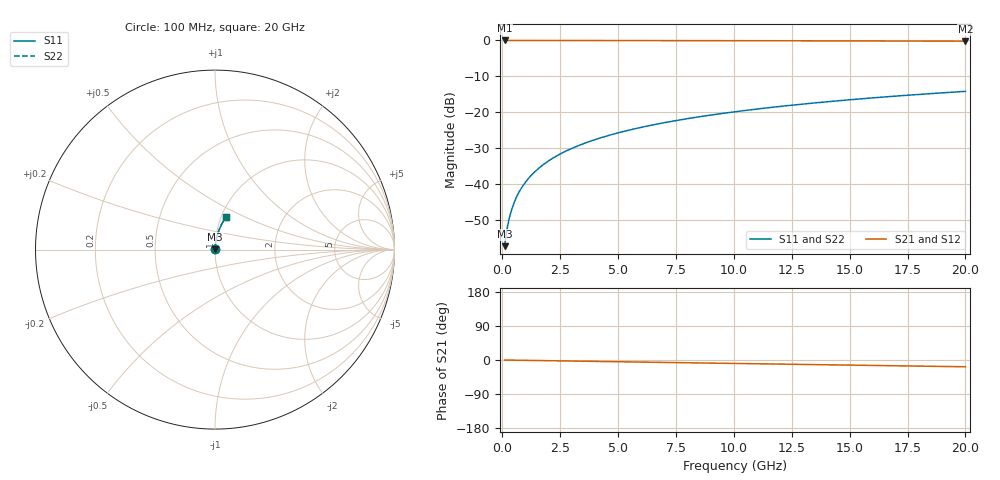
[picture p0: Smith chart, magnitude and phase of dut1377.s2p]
! Touchstone file exported from HFSS 2026.1.0
!  File:  C:/ffzhzh/LocalFiles/Ansys_Project_Files/temp_train_TMRDL_1377_1783165995_55132.aedt
!  Generated:  07:54:29 PM Jul  4, 2026
!  Design:  TMRDL
!  Project:  temp_train_TMRDL_1377_1783165995_55132
! Variables:
!  h_bsmrdl = 2um
!  h_ox = 20um
!  h_rdl = 5um
!  h_sub = 80um
!  h_tmrdl = 5.08um
!  h_tsv = 80um
!  h_via = 3um
!  l_bsmrdl = 300um
!  l_sub = 606.64um
!  l_tmrdl = 206.64um
!  m_sub = 200um
!  pitch = 58.8um
!  r_tsv = 6um
!  s_tmrdl = 10um
!  w_bsmrdl = 18um
!  w_sub = 500um
!  w_tmrdl = 23.05um
!  x_tsv_center1 = 218.165um
!  x_tsv_center2 = 536.165um
!  x_tsv_center3 = 765.855um
!  x_tsv_center4 = 1083.855um
!  x_tsv_center5 = 1313.545um
!  x_tsv_center6 = 1631.545um
# GHz S MA R 50.000000
! Terminal data exported
! Port[1] = TM_RDL1_1_T1
! Port[2] = TM_RDL1_1_T2
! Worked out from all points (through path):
!   200 points, 100 MHz to 20 GHz, reference 50 ohm
!   highest |S21| = -0.01 dB at 100 MHz (marker M1); lowest = -0.2 dB at 20 GHz (marker M2)
!   group delay of S21, straight-line fit = 2.48 ps
!   lowest |S11| = -57.4 dB at 100 MHz (marker M3), VSWR 1.00, Z = 50.1 + j0.111 ohm
!   |S11| at or under -10 dB: start of sweep to end of sweep
!   |S22| runs from -57.4 to -14.2 dB; largest |S21 - S12| = 2.7e-15
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0.1  0.001356 54.8  0.9992 -0.1  0.9992 -0.1  0.001356 54.8
! Gamma 0 0 0 0
! Port Impedance 50 0 50 0
0.2  0.002325 69.0  0.9992 -0.2  0.9992 -0.2  0.002325 69.0
0.3  0.003329 74.8  0.9991 -0.3  0.9991 -0.3  0.003329 74.8
0.4  0.004348 78.0  0.9991 -0.4  0.9991 -0.4  0.004348 78.0
0.5  0.005375 80.0  0.9991 -0.5  0.9991 -0.5  0.005375 80.0
0.7  0.007445 82.3  0.999 -0.7  0.999 -0.7  0.007445 82.3
0.8  0.008484 82.9  0.999 -0.7  0.999 -0.7  0.008484 82.9
1  0.01057 83.8  0.999 -0.9  0.999 -0.9  0.01057 83.8
1.2  0.01265 84.4  0.9989 -1.1  0.9989 -1.1  0.01265 84.4
1.4  0.01473 84.7  0.9988 -1.3  0.9988 -1.3  0.01473 84.7
1.7  0.01784 84.9  0.9987 -1.6  0.9987 -1.6  0.01784 84.9
2  0.02095 84.9  0.9986 -1.9  0.9986 -1.9  0.02095 84.9
2.7  0.02816 84.7  0.9982 -2.5  0.9982 -2.5  0.02816 84.7
3.5  0.03633 84.3  0.9978 -3.2  0.9978 -3.2  0.03633 84.3
4.2  0.04342 83.8  0.9973 -3.9  0.9973 -3.9  0.04342 83.8
5  0.05147 83.2  0.9967 -4.6  0.9967 -4.6  0.05147 83.2
6.8  0.06942 81.8  0.9952 -6.2  0.9952 -6.2  0.06942 81.8
8.3  0.08424 80.6  0.9938 -7.6  0.9938 -7.6  0.08424 80.6
10.1  0.1019 79.1  0.9918 -9.2  0.9918 -9.2  0.1019 79.1
13.4  0.1337 76.4  0.9876 -12.1  0.9876 -12.1  0.1337 76.4
16.7  0.1648 73.6  0.9825 -15.0  0.9825 -15.0  0.1648 73.6
20  0.1951 70.9  0.9766 -17.9  0.9766 -17.9  0.1951 70.9
